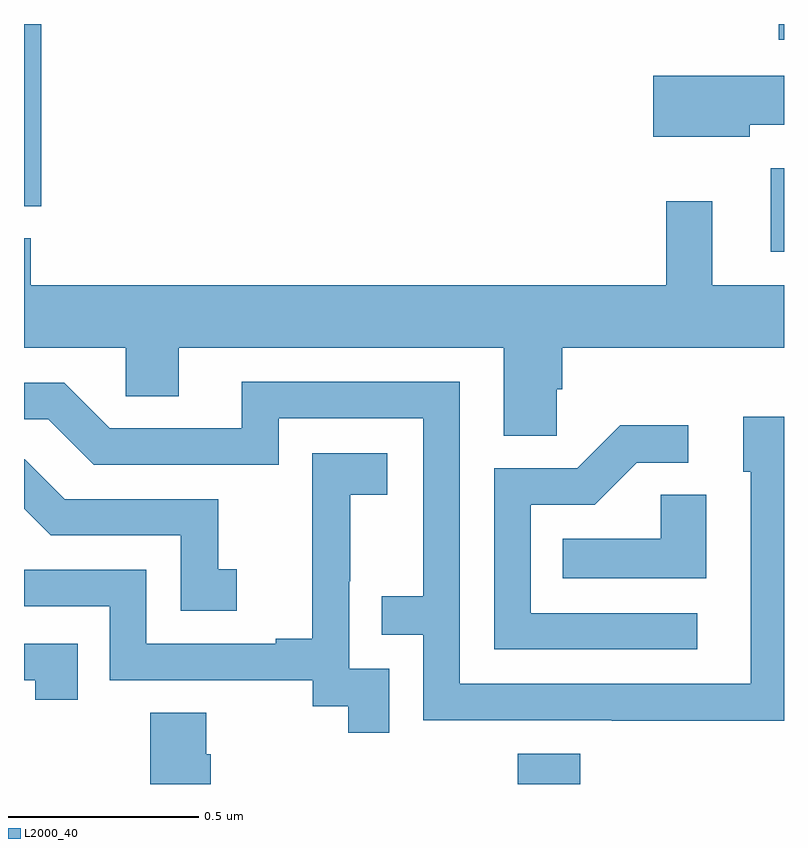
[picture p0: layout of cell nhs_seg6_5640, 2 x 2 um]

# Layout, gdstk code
import gdstk
lib = gdstk.Library(unit=1e-6, precision=1e-09)
def R(c, l, rs):  # rectangles x0, y0, x1, y1
    for r in rs: c.add(gdstk.rectangle(r[:2], r[2:], *l))
def P(c, l, *ps):  # polygons
    for p in ps: c.add(gdstk.Polygon(p, *l))
L2000_40 = (2000, 40)

nhs_seg6_5640 = lib.new_cell('nhs_seg6_5640')
R(nhs_seg6_5640, L2000_40, [(186.299,967.5,186.464,967.579), (186.965,968.901,187,969.121), (185,969.021,185.045,969.5), (186.986,969.458,187,969.5)])
P(nhs_seg6_5640, L2000_40, [(186.91,969.235),(187,969.235),(187,969.364),(186.656,969.364),(186.656,969.203),(186.91,969.203)],
  [(186.402,968.539),(186.416,968.539),(186.416,968.648),(187,968.648),(187,968.812),(186.811,968.812),(186.811,969.034),(186.69,969.034),(186.69,968.812),(185.018,968.812),(185.018,968.936),(185,968.936),(185,968.648),(185.268,968.648),(185.268,968.521),(185.407,968.521),(185.407,968.648),(186.263,968.648),(186.263,968.416),(186.402,968.416)],
  [(187,968.467),(186.893,968.467),(186.893,968.322),(186.912,968.322),(186.912,967.764),(186.147,967.764),(186.147,968.559),(185.573,968.559),(185.573,968.436),(185.226,968.436),(185.106,968.556),(185,968.556),(185,968.46),(185.064,968.46),(185.184,968.34),(185.67,968.34),(185.67,968.463),(186.051,968.463),(186.051,967.994),(185.941,967.994),(185.941,967.893),(186.051,967.893),(186.051,967.668),(186.547,967.668),(186.547,967.667),(187,967.667)],
  [(186.772,967.95),(186.333,967.95),(186.333,968.235),(186.502,968.235),(186.613,968.346),(186.748,968.346),(186.748,968.444),(186.569,968.444),(186.456,968.331),(186.237,968.331),(186.237,967.854),(186.772,967.854)],
  [(185.961,967.803),(185.856,967.803),(185.856,968.033),(185.858,968.033),(185.858,968.261),(185.956,968.261),(185.956,968.371),(185.758,968.371),(185.758,968.165),(185.759,968.165),(185.759,967.882),(185.663,967.882),(185.663,967.869),(185.322,967.869),(185.322,968.064),(185,968.064),(185,967.968),(185.226,967.968),(185.226,967.773),(185.76,967.773),(185.76,967.705),(185.853,967.705),(185.853,967.635),(185.961,967.635)],
  [(185.56,968.065),(185.511,968.065),(185.511,968.25),(185.107,968.25),(185.002,968.355),(185,968.355),(185,968.224),(185.07,968.154),(185.412,968.154),(185.412,967.956),(185.56,967.956)],
  [(186.796,968.261),(186.675,968.261),(186.675,968.146),(186.418,968.146),(186.418,968.042),(186.796,968.042)],
  [(185.141,967.869),(185,967.869),(185,967.773),(185.03,967.773),(185.03,967.722),(185.141,967.722)],
  [(185.332,967.688),(185.332,967.5),(185.492,967.5),(185.492,967.578),(185.479,967.578),(185.479,967.688)])

lib.write_gds('nhs_seg6_5640.gds')
